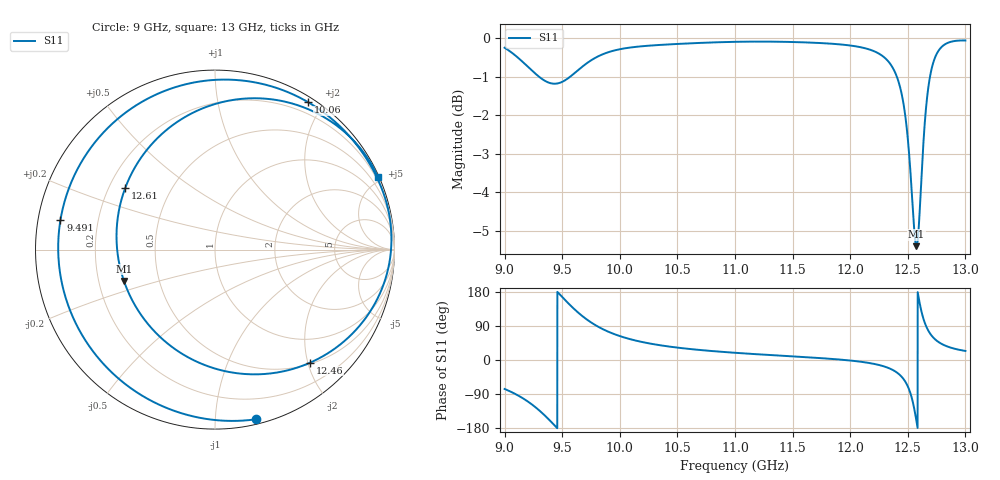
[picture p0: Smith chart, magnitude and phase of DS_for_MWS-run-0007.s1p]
! TOUCHSTONE file generated by CST DESIGN STUDIO
! Date and time: Tue Feb  4 15:51:13 2025
! Project name: C:\Work\MatlabApps\UnitCellOptimizationMatlab\CST\unitcell.cst
! Tree item: Tasks\Sweep1\SPara1\S-Parameters
! Header version: 2024
! Port assignment regex: !\s*Touchstone port\s*([0-9]+)\s*=\s*(CST MWS port|CST DES external port|CST DES block port)\s*(.+)\s* \(\"(.*)\"\)(\s*mode\s*([0-9]+))?.*
! Touchstone port assignment:
! Touchstone port 1 = CST DES external port 1 ("")
# GHz S MA R 50
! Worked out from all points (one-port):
!   4001 points, 9 GHz to 13 GHz, reference 50 ohm
!   lowest |S11| = -5.4 dB at 12.57 GHz (marker M1), VSWR 3.32, Z = 15.5 - j7.58 ohm
!   |S11| at or under -10 dB: nowhere
!   S11 on the Smith chart (normalised r, x): 9 GHz: 0.04, -1.27; 9.491 GHz: 0.07, +0.09; 10.06 GHz: 0.06, +1.82; 12.46 GHz: 0.52, -2.04; 12.61 GHz: 0.27, +0.29; 13 GHz: 0.07, +4.72
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9  0.9724 -76.5
9.144  0.9358 -98.3
9.258  0.9023 -122.2
9.389  0.8753 -158.4
9.491  0.8767 169.1
9.5  0.8779 166.2
9.609  0.9017 133.1
9.711  0.9277 107.5
9.828  0.9502 85.2
10  0.968 63.1
10.058  0.9714 57.7
10.5  0.9835 32.7
11  0.9898 19.0
11.5  0.9892 9.6
12  0.9789 -1.4
12.323  0.9362 -20.0
12.404  0.8923 -32.8
12.462  0.8234 -49.9
12.5  0.7407 -69.6
12.539  0.6155 -105.1
12.575  0.5366 -161.0
12.606  0.6065 145.6
12.633  0.7212 111.6
12.661  0.8199 87.9
12.704  0.9092 65.4
12.752  0.9555 50.7
12.848  0.9868 35.1
13  0.9937 23.9
